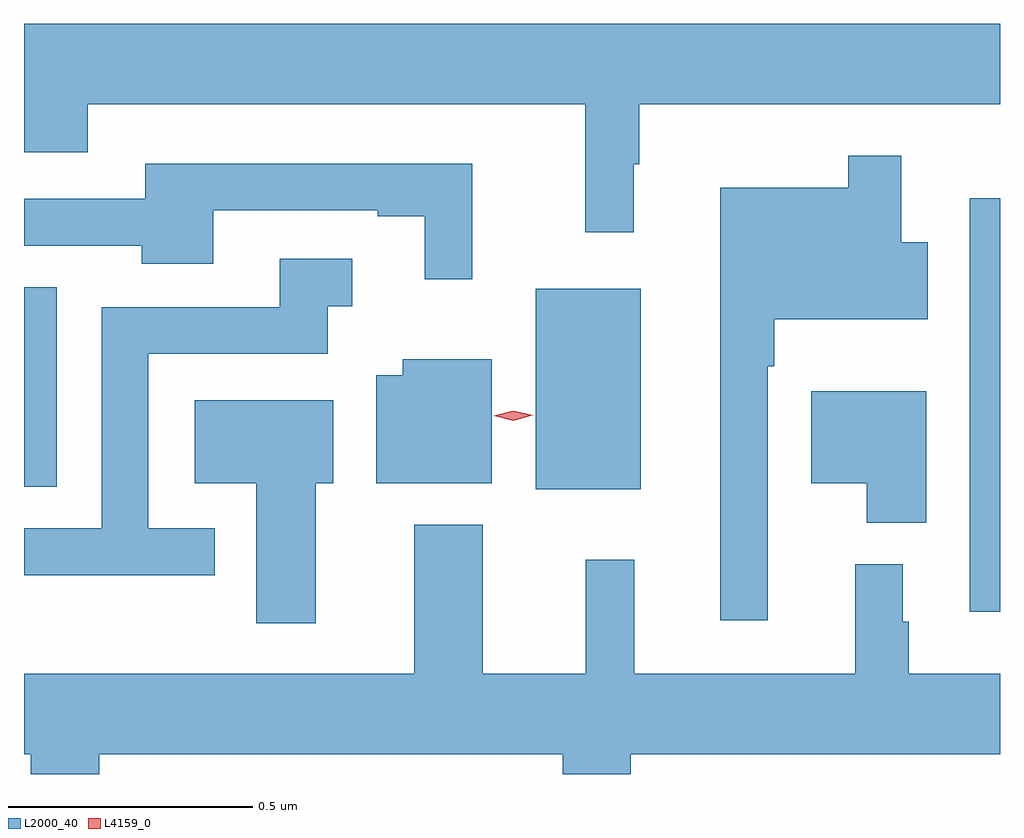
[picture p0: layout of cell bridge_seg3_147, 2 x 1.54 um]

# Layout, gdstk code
import gdstk
lib = gdstk.Library(unit=1e-6, precision=1e-09)
def R(c, l, rs):  # rectangles x0, y0, x1, y1
    for r in rs: c.add(gdstk.rectangle(r[:2], r[2:], *l))
def P(c, l, *ps):  # polygons
    for p in ps: c.add(gdstk.Polygon(p, *l))
L2000_40 = (2000, 40)
L4159_0 = (4159, 0)

bridge_seg3_147 = lib.new_cell('bridge_seg3_147')
R(bridge_seg3_147, L2000_40, [(348.285,710.532,348.347,711.379), (347.396,710.783,347.611,711.193), (346.347,710.788,346.414,711.197)])
P(bridge_seg3_147, L2000_40, [(347.596,711.449),(347.608,711.449),(347.608,711.572),(348.347,711.572),(348.347,711.736),(346.347,711.736),(346.347,711.473),(346.478,711.473),(346.478,711.572),(347.497,711.572),(347.497,711.309),(347.596,711.309)],
  [(347.871,711.035),(347.884,711.035),(347.884,711.131),(348.199,711.131),(348.199,711.289),(348.145,711.289),(348.145,711.466),(348.036,711.466),(348.036,711.4),(347.774,711.4),(347.774,710.514),(347.871,710.514)],
  [(347.266,711.45),(346.595,711.45),(346.595,711.378),(346.347,711.378),(346.347,711.282),(346.588,711.282),(346.588,711.245),(346.735,711.245),(346.735,711.354),(347.072,711.354),(347.072,711.342),(347.168,711.342),(347.168,711.213),(347.266,711.213)],
  [(346.738,710.703),(346.602,710.703),(346.602,711.06),(346.969,711.06),(346.969,711.158),(347.02,711.158),(347.02,711.255),(346.871,711.255),(346.871,711.156),(346.506,711.156),(346.506,710.703),(346.347,710.703),(346.347,710.606),(346.738,710.606)],
  [(347.305,711.049),(347.123,711.049),(347.123,711.016),(347.069,711.016),(347.069,710.795),(347.305,710.795)],
  [(348.196,710.983),(347.96,710.983),(347.96,710.795),(348.074,710.795),(348.074,710.714),(348.196,710.714)],
  [(346.945,710.795),(346.981,710.795),(346.981,710.965),(346.697,710.965),(346.697,710.795),(346.823,710.795),(346.823,710.508),(346.945,710.508)],
  [(346.501,710.24),(347.451,710.24),(347.451,710.199),(347.59,710.199),(347.59,710.24),(348.347,710.24),(348.347,710.404),(348.16,710.404),(348.16,710.511),(348.148,710.511),(348.148,710.629),(348.05,710.629),(348.05,710.404),(347.597,710.404),(347.597,710.638),(347.498,710.638),(347.498,710.404),(347.287,710.404),(347.287,710.71),(347.147,710.71),(347.147,710.404),(346.347,710.404),(346.347,710.24),(346.361,710.24),(346.361,710.199),(346.501,710.199)])
P(bridge_seg3_147, L4159_0, [(347.35,710.923),(347.31,710.933),(347.31,710.933),(347.31,710.933),(347.35,710.943),(347.39,710.934),(347.391,710.934),(347.39,710.934)])

lib.write_gds('bridge_seg3_147.gds')
